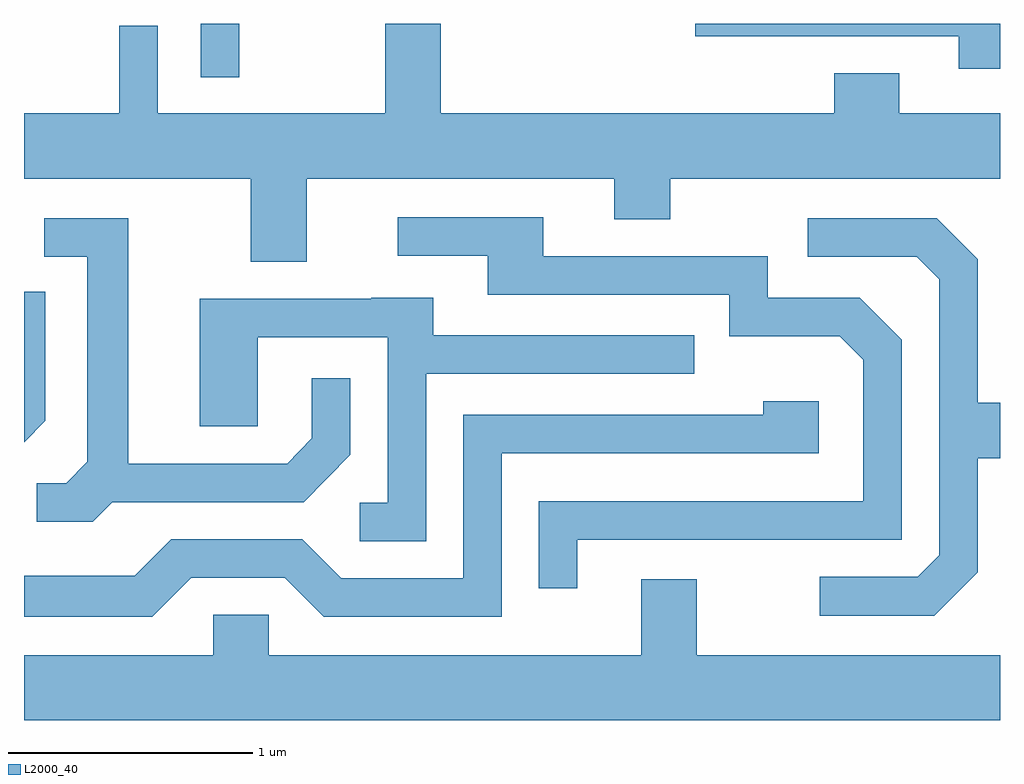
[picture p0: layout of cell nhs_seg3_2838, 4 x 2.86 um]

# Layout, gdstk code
import gdstk
lib = gdstk.Library(unit=1e-6, precision=1e-09)
def R(c, l, rs):  # rectangles x0, y0, x1, y1
    for r in rs: c.add(gdstk.rectangle(r[:2], r[2:], *l))
def P(c, l, *ps):  # polygons
    for p in ps: c.add(gdstk.Polygon(p, *l))
L2000_40 = (2000, 40)

nhs_seg3_2838 = lib.new_cell('nhs_seg3_2838')
R(nhs_seg3_2838, L2000_40, [(268.336,1219.673,268.494,1219.892)])
P(nhs_seg3_2838, L2000_40, [(268.769,1219.256),(270.031,1219.256),(270.031,1219.091),(270.259,1219.091),(270.259,1219.256),(271.611,1219.256),(271.611,1219.524),(271.199,1219.524),(271.199,1219.689),(270.931,1219.689),(270.931,1219.524),(269.319,1219.524),(269.319,1219.892),(269.091,1219.892),(269.091,1219.524),(268.159,1219.524),(268.159,1219.883),(268.001,1219.883),(268.001,1219.524),(267.611,1219.524),(267.611,1219.256),(268.541,1219.256),(268.541,1218.916),(268.769,1218.916)],
  [(271.611,1219.892),(270.361,1219.892),(270.361,1219.841),(271.441,1219.841),(271.441,1219.706),(271.611,1219.706)],
  [(269.879,1217.776),(271.209,1217.776),(271.209,1218.597),(271.037,1218.769),(270.659,1218.769),(270.659,1218.939),(269.739,1218.939),(269.739,1219.099),(269.143,1219.099),(269.143,1218.941),(269.511,1218.941),(269.511,1218.781),(270.501,1218.781),(270.501,1218.611),(270.954,1218.611),(271.051,1218.514),(271.051,1217.934),(269.721,1217.934),(269.721,1217.578),(269.879,1217.578)],
  [(267.972,1217.931),(268.757,1217.931),(268.949,1218.124),(268.949,1218.438),(268.791,1218.438),(268.791,1218.192),(268.689,1218.089),(268.039,1218.089),(268.039,1219.094),(267.693,1219.094),(267.693,1218.936),(267.871,1218.936),(267.871,1218.097),(267.784,1218.009),(267.663,1218.009),(267.663,1217.851),(267.892,1217.851)],
  [(271.519,1217.644),(271.519,1218.111),(271.611,1218.111),(271.611,1218.339),(271.519,1218.339),(271.519,1218.927),(271.352,1219.094),(270.823,1219.094),(270.823,1218.936),(271.269,1218.936),(271.361,1218.844),(271.361,1217.712),(271.274,1217.624),(270.873,1217.624),(270.873,1217.466),(271.342,1217.466)],
  [(267.699,1218.264),(267.699,1218.793),(267.611,1218.793),(267.611,1218.176)],
  [(269.259,1218.456),(270.358,1218.456),(270.358,1218.614),(269.289,1218.614),(269.289,1218.769),(269.035,1218.769),(269.035,1218.764),(268.331,1218.764),(268.331,1218.241),(268.569,1218.241),(268.569,1218.606),(269.101,1218.606),(269.101,1217.929),(268.988,1217.929),(268.988,1217.771),(269.259,1217.771)],
  [(268.297,1217.621),(268.679,1217.621),(268.839,1217.461),(269.569,1217.461),(269.569,1218.131),(270.869,1218.131),(270.869,1218.344),(270.641,1218.344),(270.641,1218.289),(269.411,1218.289),(269.411,1217.619),(268.912,1217.619),(268.752,1217.779),(268.214,1217.779),(268.064,1217.629),(267.611,1217.629),(267.611,1217.461),(268.137,1217.461)],
  [(271.611,1217.304),(270.369,1217.304),(270.369,1217.614),(270.141,1217.614),(270.141,1217.304),(268.614,1217.304),(268.614,1217.469),(268.386,1217.469),(268.386,1217.304),(267.611,1217.304),(267.611,1217.036),(271.611,1217.036)])

lib.write_gds('nhs_seg3_2838.gds')
